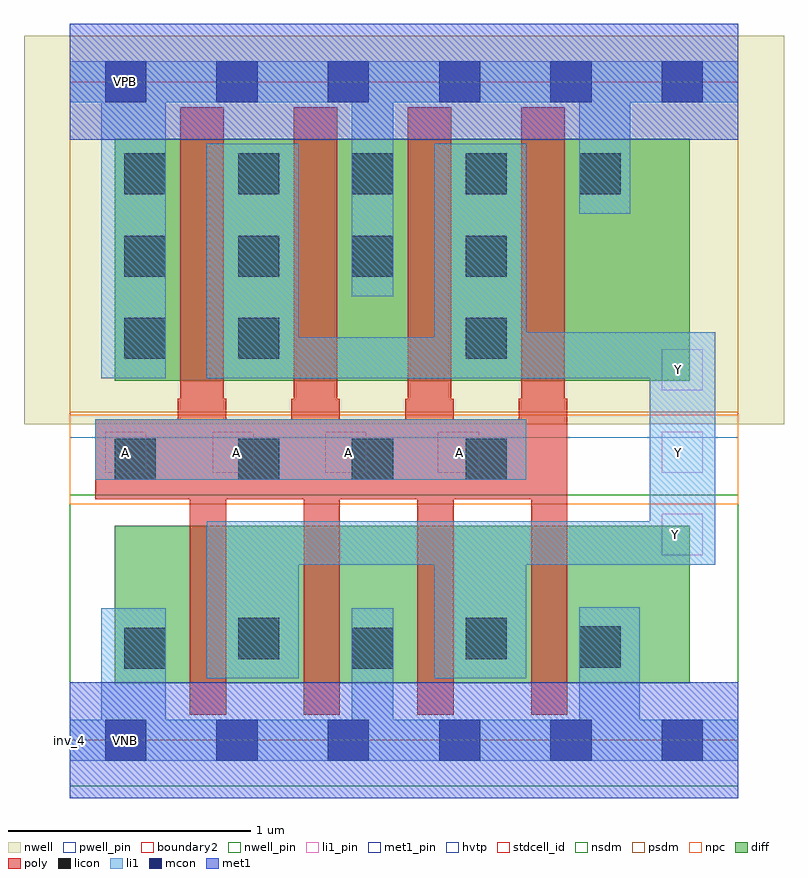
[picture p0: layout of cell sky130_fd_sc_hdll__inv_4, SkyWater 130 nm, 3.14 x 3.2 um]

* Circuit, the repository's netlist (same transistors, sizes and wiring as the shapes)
* Copyright 2020 The SkyWater PDK Authors
*
* Licensed under the Apache License, Version 2.0 (the "License");
* you may not use this file except in compliance with the License.
* You may obtain a copy of the License at
*
*     https://www.apache.org/licenses/LICENSE-2.0
*
* Unless required by applicable law or agreed to in writing, software
* distributed under the License is distributed on an "AS IS" BASIS,
* WITHOUT WARRANTIES OR CONDITIONS OF ANY KIND, either express or implied.
* See the License for the specific language governing permissions and
* limitations under the License.
*
* SPDX-License-Identifier: Apache-2.0

.SUBCKT sky130_fd_sc_hdll__inv_4 A VGND VNB VPB VPWR Y
*.PININFO A:I VGND:I VNB:I VPB:I VPWR:I Y:O
MMIP1 Y A VPWR VPB sky130_fd_pr__pfet_01v8_hvt m=4 w=1.0U l=0.18U mult=1 sa=0.265
+ sb=0.265 sd=0.28 area=0.063 perim=1.14
MMIN1 Y A VGND VNB sky130_fd_pr__nfet_01v8 m=4 w=0.65U l=0.15U mult=1 sa=0.265
+ sb=0.265 sd=0.28 area=0.063 perim=1.14
.ENDS sky130_fd_sc_hdll__inv_4

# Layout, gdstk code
import gdstk
lib = gdstk.Library(unit=1e-6, precision=1e-09)
def R(c, l, rs):  # rectangles x0, y0, x1, y1
    for r in rs: c.add(gdstk.rectangle(r[:2], r[2:], *l))
def A(c, l, x, y, w, h, nx, ny, dx, dy):  # array of equal rectangles
    R(c, l, [(x+i*dx, y+j*dy, x+i*dx+w, y+j*dy+h) for i in range(nx) for j in range(ny)])
def P(c, l, *ps):  # polygons
    for p in ps: c.add(gdstk.Polygon(p, *l))
nwell_pin = (64, 16)
nwell = (64, 20)
diff = (65, 20)
poly = (66, 20)
licon = (66, 44)
li1_pin = (67, 16)
li1 = (67, 20)
mcon = (67, 44)
met1_pin = (68, 16)
met1 = (68, 20)
hvtp = (78, 44)
stdcell_id = (81, 4)
nsdm = (93, 44)
psdm = (94, 20)
npc = (95, 20)
pwell_pin = (122, 16)
boundary2 = (236, 0)

sky130_fd_sc_hdll__inv_4 = lib.new_cell('sky130_fd_sc_hdll__inv_4')
R(sky130_fd_sc_hdll__inv_4, nwell_pin, [(0.145,2.635,0.315,2.805)])
R(sky130_fd_sc_hdll__inv_4, nwell, [(-0.19,1.305,2.95,2.91)])
R(sky130_fd_sc_hdll__inv_4, diff, [(0.185,0.235,2.56,0.885), (0.185,1.485,2.56,2.485)])
P(sky130_fd_sc_hdll__inv_4, poly, [(2.055,1.41),(2.045,1.41),(2.045,2.615),(1.865,2.615),(1.865,1.41),(1.855,1.41),(1.855,1.325),(1.585,1.325),(1.585,1.41),(1.575,1.41),(1.575,2.615),(1.395,2.615),(1.395,1.41),(1.385,1.41),(1.385,1.325),(1.115,1.325),(1.115,1.41),(1.105,1.41),(1.105,2.615),(0.925,2.615),(0.925,1.41),(0.915,1.41),(0.915,1.325),(0.645,1.325),(0.645,1.41),(0.635,1.41),(0.635,2.615),(0.455,2.615),(0.455,1.41),(0.445,1.41),(0.445,1.325),(0.105,1.325),(0.105,0.995),(0.495,0.995),(0.495,0.105),(0.645,0.105),(0.645,0.995),(0.965,0.995),(0.965,0.105),(1.115,0.105),(1.115,0.995),(1.435,0.995),(1.435,0.105),(1.585,0.105),(1.585,0.995),(1.905,0.995),(1.905,0.105),(2.055,0.105)])
A(sky130_fd_sc_hdll__inv_4, licon, 0.695, 1.075, 0.17, 0.17, 3, 1, 0.47, 0)
A(sky130_fd_sc_hdll__inv_4, licon, 0.225, 1.915, 0.17, 0.17, 4, 1, 0.47, 0)
A(sky130_fd_sc_hdll__inv_4, licon, 0.225, 2.255, 0.17, 0.17, 5, 1, 0.47, 0)
R(sky130_fd_sc_hdll__inv_4, licon, [(0.225,0.295,0.395,0.465), (1.165,0.295,1.335,0.465), (2.105,0.3,2.275,0.47), (0.695,0.335,0.865,0.505), (1.635,0.335,1.805,0.505), (0.185,1.075,0.355,1.245), (0.225,1.575,0.395,1.745), (0.695,1.575,0.865,1.745), (1.635,1.575,1.805,1.745)])
A(sky130_fd_sc_hdll__inv_4, li1_pin, 2.445, 0.765, 0.17, 0.17, 1, 3, 0, 0.34)
A(sky130_fd_sc_hdll__inv_4, li1_pin, 0.59, 1.105, 0.17, 0.17, 3, 1, 0.465, 0)
R(sky130_fd_sc_hdll__inv_4, li1_pin, [(0.145,1.105,0.315,1.275)])
R(sky130_fd_sc_hdll__inv_4, li1, [(0.105,1.075,1.885,1.325)])
P(sky130_fd_sc_hdll__inv_4, li1, [(2.76,0.085),(2.355,0.085),(2.355,0.55),(2.105,0.55),(2.105,0.085),(1.335,0.085),(1.335,0.545),(1.165,0.545),(1.165,0.085),(0.395,0.085),(0.395,0.545),(0.13,0.545),(0.13,0.085),(0,0.085),(0,-0.085),(2.76,-0.085)],
  [(2.76,2.805),(0,2.805),(0,2.635),(0.13,2.635),(0.13,1.495),(0.395,1.495),(0.395,2.635),(1.165,2.635),(1.165,1.835),(1.335,1.835),(1.335,2.635),(2.105,2.635),(2.105,2.175),(2.315,2.175),(2.315,2.635),(2.76,2.635)],
  [(2.665,1.685),(1.885,1.685),(1.885,2.465),(1.505,2.465),(1.505,1.665),(0.945,1.665),(0.945,2.465),(0.565,2.465),(0.565,1.495),(2.395,1.495),(2.395,0.905),(0.565,0.905),(0.565,0.255),(0.945,0.255),(0.945,0.725),(1.505,0.725),(1.505,0.255),(1.885,0.255),(1.885,0.725),(2.665,0.725)])
A(sky130_fd_sc_hdll__inv_4, mcon, 0.145, -0.085, 0.17, 0.17, 6, 2, 0.46, 2.72)
R(sky130_fd_sc_hdll__inv_4, met1_pin, [(0.145,-0.085,0.315,0.085), (0.145,2.635,0.315,2.805)])
R(sky130_fd_sc_hdll__inv_4, met1, [(0,-0.24,2.76,0.24), (0,2.48,2.76,2.96)])
R(sky130_fd_sc_hdll__inv_4, hvtp, [(0,1.25,2.76,2.72)])
R(sky130_fd_sc_hdll__inv_4, stdcell_id, [(0,0,2.76,2.72)])
R(sky130_fd_sc_hdll__inv_4, nsdm, [(0,-0.19,2.76,1.015)])
R(sky130_fd_sc_hdll__inv_4, psdm, [(0,1.355,2.76,2.91)])
R(sky130_fd_sc_hdll__inv_4, npc, [(0,0.975,2.76,1.345)])
R(sky130_fd_sc_hdll__inv_4, pwell_pin, [(0.145,-0.085,0.315,0.085)])
R(sky130_fd_sc_hdll__inv_4, boundary2, [(0,0,2.76,2.72)])
sky130_fd_sc_hdll__inv_4.add(gdstk.Label('Y', (2.5,0.85), layer=67, texttype=5))
sky130_fd_sc_hdll__inv_4.add(gdstk.Label('Y', (2.515,1.19), layer=67, texttype=5))
sky130_fd_sc_hdll__inv_4.add(gdstk.Label('Y', (2.515,1.53), layer=67, texttype=5))
sky130_fd_sc_hdll__inv_4.add(gdstk.Label('A', (0.23,1.19), layer=67, texttype=5))
sky130_fd_sc_hdll__inv_4.add(gdstk.Label('A', (0.69,1.19), layer=67, texttype=5))
sky130_fd_sc_hdll__inv_4.add(gdstk.Label('A', (1.15,1.19), layer=67, texttype=5))
sky130_fd_sc_hdll__inv_4.add(gdstk.Label('A', (1.61,1.19), layer=67, texttype=5))
sky130_fd_sc_hdll__inv_4.add(gdstk.Label('VPB', (0.23,2.72), layer=64, texttype=5))
sky130_fd_sc_hdll__inv_4.add(gdstk.Label('VNB', (0.23,0), layer=64, texttype=59))
sky130_fd_sc_hdll__inv_4.add(gdstk.Label('VPWR', (0.23,2.72), layer=68, texttype=5))
sky130_fd_sc_hdll__inv_4.add(gdstk.Label('VGND', (0.23,0), layer=68, texttype=5))
sky130_fd_sc_hdll__inv_4.add(gdstk.Label('inv_4', (0,0), layer=83, texttype=44))

lib.write_gds('sky130_fd_sc_hdll__inv_4.gds')
